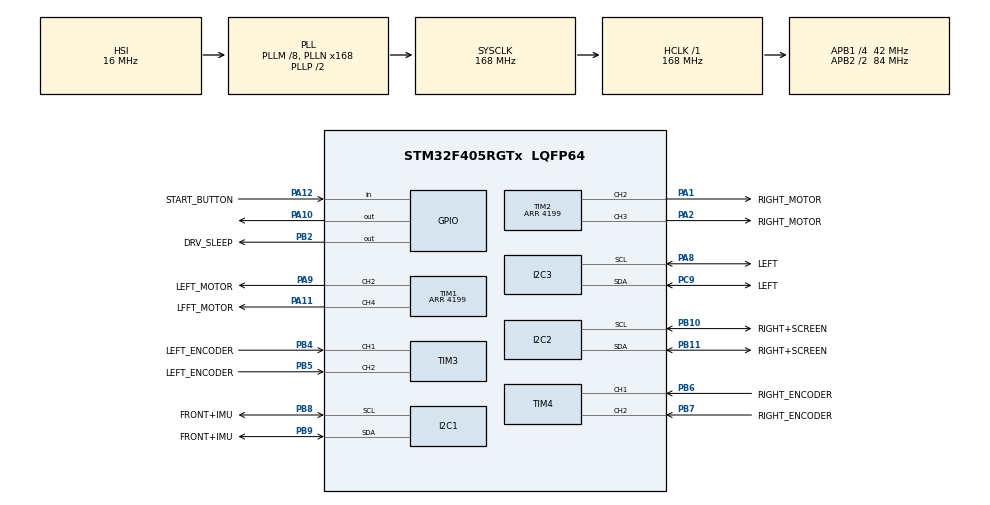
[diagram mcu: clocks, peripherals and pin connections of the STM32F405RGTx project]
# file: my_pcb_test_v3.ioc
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Mcu.Family=STM32F4
Mcu.Name=STM32F405RGTx
Mcu.Package=LQFP64
NVIC.PriorityGroup=NVIC_PRIORITYGROUP_4
NVIC.TIM6_DAC_IRQn=true\:0\:0\:false\:false\:true\:true\:true\:true
PA1.GPIO_Label=RIGHT_MOTOR
PA1.Signal=S_TIM2_CH2
PA10.Signal=GPIO_Output
PA11.GPIO_Label=LFFT_MOTOR
PA11.Signal=S_TIM1_CH4
PA12.GPIO_Label=START_BUTTON
PA12.GPIO_PuPd=GPIO_PULLUP
PA12.Signal=GPIO_Input
PA13.Mode=Serial_Wire
PA13.Signal=SYS_JTMS-SWDIO
PA14.Mode=Serial_Wire
PA14.Signal=SYS_JTCK-SWCLK
PA2.GPIO_Label=RIGHT_MOTOR
PA2.Signal=S_TIM2_CH3
PA8.GPIO_Label=LEFT
PA8.Mode=I2C
PA8.Signal=I2C3_SCL
PA9.GPIO_Label=LEFT_MOTOR
PA9.Signal=S_TIM1_CH2
PB10.GPIO_Label=RIGHT+SCREEN
PB10.Mode=I2C
PB10.Signal=I2C2_SCL
PB11.GPIO_Label=RIGHT+SCREEN
PB11.Mode=I2C
PB11.Signal=I2C2_SDA
PB2.GPIO_Label=DRV_SLEEP
PB2.Signal=GPIO_Output
PB4.GPIO_Label=LEFT_ENCODER
PB4.Signal=S_TIM3_CH1
PB5.GPIO_Label=LEFT_ENCODER
PB5.Signal=S_TIM3_CH2
PB6.GPIO_Label=RIGHT_ENCODER
PB6.Signal=S_TIM4_CH1
PB7.GPIO_Label=RIGHT_ENCODER
PB7.Signal=S_TIM4_CH2
PB8.GPIO_Label=FRONT+IMU
PB8.Mode=I2C
PB8.Signal=I2C1_SCL
PB9.GPIO_Label=FRONT+IMU
PB9.Mode=I2C
PB9.Signal=I2C1_SDA
PC9.GPIO_Label=LEFT
PC9.Mode=I2C
PC9.Signal=I2C3_SDA
ProjectManager.HeapSize=0x200
ProjectManager.StackSize=0x400
ProjectManager.TargetToolchain=STM32CubeIDE
RCC.48MHZClocksFreq_Value=84000000
RCC.AHBFreq_Value=168000000
RCC.APB1CLKDivider=RCC_HCLK_DIV4
RCC.APB1Freq_Value=42000000
RCC.APB1TimFreq_Value=84000000
RCC.APB2CLKDivider=RCC_HCLK_DIV2
RCC.APB2Freq_Value=84000000
RCC.APB2TimFreq_Value=168000000
RCC.CortexFreq_Value=168000000
RCC.HCLKFreq_Value=168000000
RCC.HSE_VALUE=25000000
RCC.HSI_VALUE=16000000
RCC.LSE_VALUE=32768
RCC.PLLM=8
RCC.PLLN=168
RCC.SYSCLKFreq_VALUE=168000000
RCC.SYSCLKSource=RCC_SYSCLKSOURCE_PLLCLK
RCC.VCOOutputFreq_Value=336000000
SH.S_TIM1_CH2.0=TIM1_CH2,PWM Generation2 CH2
SH.S_TIM1_CH4.0=TIM1_CH4,PWM Generation4 CH4
SH.S_TIM2_CH2.0=TIM2_CH2,PWM Generation2 CH2
SH.S_TIM2_CH3.0=TIM2_CH3,PWM Generation3 CH3
SH.S_TIM3_CH1.0=TIM3_CH1,Encoder_Interface
SH.S_TIM3_CH2.0=TIM3_CH2,Encoder_Interface
SH.S_TIM4_CH1.0=TIM4_CH1,Encoder_Interface
SH.S_TIM4_CH2.0=TIM4_CH2,Encoder_Interface
TIM1.Channel-PWM\ Generation2\ CH2=TIM_CHANNEL_2
TIM1.Channel-PWM\ Generation4\ CH4=TIM_CHANNEL_4
TIM1.Period=4199
TIM2.Channel-PWM\ Generation2\ CH2=TIM_CHANNEL_2
TIM2.Channel-PWM\ Generation3\ CH3=TIM_CHANNEL_3
TIM2.Period=4199
TIM3.EncoderMode=TIM_ENCODERMODE_TI12
TIM4.EncoderMode=TIM_ENCODERMODE_TI12
TIM6.Period=10000-1
TIM6.Prescaler=84-1
VP_TIM1_VS_ClockSourceINT.Mode=Internal
VP_TIM2_VS_ClockSourceINT.Mode=Internal
VP_TIM6_VS_ClockSourceINT.Mode=Enable_Timer
board=custom

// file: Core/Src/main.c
/* USER CODE BEGIN Header */
/**
  ******************************************************************************
  * @file           : main.c
  * @brief          : Main program body
  ******************************************************************************
  * @attention
  *
  * Copyright (c) 2026 STMicroelectronics.
  * All rights reserved.
  *
  * This software is licensed under terms that can be found in the LICENSE file
  * in the root directory of this software component.
  * If no LICENSE file comes with this software, it is provided AS-IS.
  *
  ******************************************************************************
  */
/* USER CODE END Header */
#include "main.h"

I2C_HandleTypeDef hi2c1;
I2C_HandleTypeDef hi2c2;
I2C_HandleTypeDef hi2c3;

TIM_HandleTypeDef htim1;
TIM_HandleTypeDef htim2;
TIM_HandleTypeDef htim3;
TIM_HandleTypeDef htim4;
TIM_HandleTypeDef htim6;

/* USER CODE BEGIN PV */
volatile uint8_t flag_10ms_mpu = 0;
mouse_type mouse;
cell_type maze[MAZE_SIZE][MAZE_SIZE];
int stage = 0;
/* Ground-truth maze */
//cell_type REAL_MAZE[MAZE_SIZE][MAZE_SIZE] = INIT_REAL_MAZE;
VL53L0X_Dev_t sensorLeft;
VL53L0X_Dev_t sensorFront;
VL53L0X_Dev_t sensorRight;
/* USER CODE END PV */

void SystemClock_Config(void);
static void MX_GPIO_Init(void);
static void MX_TIM1_Init(void);
static void MX_TIM2_Init(void);
static void MX_TIM3_Init(void);
static void MX_TIM4_Init(void);
static void MX_I2C1_Init(void);
static void MX_I2C2_Init(void);
static void MX_I2C3_Init(void);
static void MX_TIM6_Init(void);
/* USER CODE BEGIN PFP */
void WallFollow_Update(uint16_t distL, uint16_t distR);
/* USER CODE END PFP */

/* USER CODE BEGIN 0 */

// Implement-able Variables for Real-life Application
MPU6050_Data Angle; // use Angle.Yaw for yaw angle
uint16_t distance1, distance2, distance3;

// For IDE Debugging
static char textBuffer[64];   // for formatted strings printed in IDE

// Unused Variables
#define FLT_TEXT_SIZE (1 + 1 + 1 +    8   + 1 + 1 + 5   + 1) // for OLED
statInfo_t_VL53L0X distanceStr1, distanceStr2, distanceStr3;
MPU6050_Raw Raw;
static volatile int counter = 0;
/* USER CODE END 0 */

int main(void)
{

  /* MCU Configuration--------------------------------------------------------*/

  /* Reset of all peripherals, Initializes the Flash interface and the Systick. */
  HAL_Init();

  /* Configure the system clock */
  SystemClock_Config();

  /* Initialize all configured peripherals */
  MX_GPIO_Init();
  MX_TIM1_Init();
  MX_TIM2_Init();
  MX_TIM3_Init();
  MX_TIM4_Init();
  MX_I2C1_Init();
  MX_I2C2_Init();
  MX_I2C3_Init();
  MX_TIM6_Init();
  /* USER CODE BEGIN 2 */
  ssd1306_Init();
  MPU6050_Init();
  DRV8833_Init();
  // BẬT NGẮT TIMER 6 ĐỂ ĐỌC MPU MỖI 10ms
    HAL_TIM_Base_Start_IT(&htim6);
  // --- BẮT ĐẦU RADAR QUÉT MPU6050 ---
    HAL_Delay(500);
    ssd1306_Fill(Black);
    ssd1306_SetCursor(2, 10);

    if (HAL_I2C_IsDeviceReady(&hi2c1, 0xD0, 3, 100) == HAL_OK) {
        ssd1306_WriteString("MPU ADDR: 0xD0 OK", Font_7x10, White);
        MPU6050_Init(); // Chỉ khởi tạo khi chắc chắn MPU còn sống
    }
    else if (HAL_I2C_IsDeviceReady(&hi2c1, 0xD2, 3, 100) == HAL_OK) {
        ssd1306_WriteString("MPU ADDR: 0xD2 !!!", Font_7x10, White);
    }
    else {
        ssd1306_WriteString("MPU: NOT FOUND/DEAD", Font_7x10, White);
    }

    ssd1306_UpdateScreen();
    HAL_Delay(3000); // Đứng hình 3 giây để bạn đọc thông báo
    // --- KẾT THÚC RADAR ---
/*  initVL53L0X(&sensorFront, &hi2c1);
  initVL53L0X(&sensorRight, &hi2c2);
  initVL53L0X(&sensorLeft, &hi2c3);
	for(uint8_t i = 0; i < 52; i++) {
		textBuffer[i] = ' ';
	}
	// --- CẤU HÌNH CHO CẢM BIẾN TRƯỚC ---
	setSignalRateLimit(&sensorFront, 0.25);
	setVcselPulsePeriod(&sensorFront, VcselPeriodPreRange, 14);
	setVcselPulsePeriod(&sensorFront, VcselPeriodFinalRange, 10);
	setMeasurementTimingBudget(&sensorFront, 33000);

	// --- CẤU HÌNH CHO CẢM BIẾN PHẢI ---
	setSignalRateLimit(&sensorRight, 0.25);
	setVcselPulsePeriod(&sensorRight, VcselPeriodPreRange, 14);
	setVcselPulsePeriod(&sensorRight, VcselPeriodFinalRange, 10);
	setMeasurementTimingBudget(&sensorRight, 33000);

	// --- CẤU HÌNH CHO CẢM BIẾN TRÁI ---
	setSignalRateLimit(&sensorLeft, 0.25);
	setVcselPulsePeriod(&sensorLeft, VcselPeriodPreRange, 14);
	setVcselPulsePeriod(&sensorLeft, VcselPeriodFinalRange, 10);
	setMeasurementTimingBudget(&sensorLeft, 33000); // 33ms
*/
  /* USER CODE END 2 */

  /* Infinite loop */
  /* USER CODE BEGIN WHILE */
      while (1)
      {
          // 1. CHỚP ĐÈN NHẸ NHÀNG (Bỏ delay 500ms đi)
          HAL_GPIO_TogglePin(GPIOA, GPIO_PIN_10);

          // 2. IN THÔNG SỐ LÊN OLED
          int16_t enc_left = (int16_t)TIM3->CNT;
          int16_t enc_right = (int16_t)TIM4->CNT;
          ssd1306_Fill(Black);
          ssd1306_SetCursor(1, 20);
          sprintf(textBuffer, "EncL: %-5d", enc_left);
          ssd1306_WriteString(textBuffer, Font_7x10, White);
          ssd1306_SetCursor(1, 0);
          sprintf(textBuffer, "EncR: %-5d", enc_right);
          ssd1306_WriteString(textBuffer, Font_7x10, White);
          ssd1306_UpdateScreen();

          // (Quá trình vẽ OLED mất khoảng vài chục ms, đủ để tạo delay tự nhiên cho vòng lặp)
          // 3. TẠM KHÓA TOÀN BỘ MPU Ở ĐÂY ĐỂ CÁCH LY LỖI
                /* if (flag_10ms_mpu == 1) {
                    flag_10ms_mpu = 0;
                    MPU6050_Read_Data(&Raw);
                } */

          // 4. KIỂM TRA NÚT BẤM PA12
                if (HAL_GPIO_ReadPin(GPIOA, GPIO_PIN_12) == GPIO_PIN_RESET) {

                    HAL_Delay(50); // Lọc nhiễu

                    if (HAL_GPIO_ReadPin(GPIOA, GPIO_PIN_12) == GPIO_PIN_RESET) {

                        // Bật đèn sáng liên tục báo hiệu đang chạy
                        HAL_GPIO_WritePin(GPIOA, GPIO_PIN_10, GPIO_PIN_SET);

                        moveOneCell(); // Hàm này chạy tối đa 4 giây là bắt buộc phải tự thoát

                        // Đã chạy xong, tắt đèn
                        HAL_GPIO_WritePin(GPIOA, GPIO_PIN_10, GPIO_PIN_RESET);

                        // -----------------------------------------------------------
                        // VÒNG LẶP CHỜ NHẢ NÚT (Đã tích hợp máy báo lỗi)
                        // -----------------------------------------------------------
                        while (HAL_GPIO_ReadPin(GPIOA, GPIO_PIN_12) == GPIO_PIN_RESET) {
                            // KHÔNG ĐỌC MPU Ở ĐÂY NỮA !!!

                            // Chớp đèn cực nhanh để báo hiệu: "Tôi đang kẹt ở nút bấm!"
                            HAL_GPIO_TogglePin(GPIOA, GPIO_PIN_10);
                            HAL_Delay(50);
                        }
                        // -----------------------------------------------------------
                        HAL_Delay(50);
                    }
                }

      	// 3. ĐỌC CẢM BIẾN VL53L0X
      /*	distance2 = readRangeSingleMillimeters(&sensorFront, &distanceStr1);
      	distance3 = readRangeSingleMillimeters(&sensorRight, &distanceStr2);
      	distance1 = readRangeSingleMillimeters(&sensorLeft, &distanceStr3);

      	sprintf(textBuffer, "D1:%d D2:%d D3:%d\r\n", distance1, distance2, distance3);

      	// 4. Đọc trạng thái nút PA12 (Chống dội phím Non-blocking)
      	int stage = 1; // Khởi tạo luôn bằng 0
      	static uint32_t last_button_press = 0; // Lưu thời điểm bấm nút cuối cùng
      	if (HAL_GPIO_ReadPin(GPIOA, GPIO_PIN_12) == GPIO_PIN_RESET) {
      	// Chỉ nhận lệnh nếu khoảng cách giữa 2 lần bấm lớn hơn 200ms
      	  if (HAL_GetTick() - last_button_press > 200) {
      	    stage = (stage + 1) % 4; // chuyển sang chế độ tiếp theo
      	    last_button_press = HAL_GetTick(); // Cập nhật lại mốc thời gian
      	  }
      	}
      	// 5. MÁY TRẠNG THÁI (STATE MACHINE)
      	switch (stage){
      	case 0:
      	  Motor_Stop(); // Standby thì nên dừng động cơ
      	  DRV8833_Sleep(); // Ngắt điện hoàn toàn động cơ, chuột ngủ say sưa
      	  break;
      	case 1:
      	  DRV8833_Wakeup(); // Đánh thức chuột dậy
      	  WallFollow_Update(distance1, distance3);
      	  //explore(maze, &mouse);
      	  break;
      	case 2:
      	  returnToStart(maze, &mouse);
      	  break;
      	case 3:
      	  goToOptimal(maze, &mouse, 8, 8);
      	  break;
      	}
      */
      }
      /* USER CODE END WHILE */
}
/*
  * @brief System Clock Configuration
  * @retval None
  */
void SystemClock_Config(void)
{
  RCC_OscInitTypeDef RCC_OscInitStruct = {0};
  RCC_ClkInitTypeDef RCC_ClkInitStruct = {0};

  /** Configure the main internal regulator output voltage
  */
  __HAL_RCC_PWR_CLK_ENABLE();
  __HAL_PWR_VOLTAGESCALING_CONFIG(PWR_REGULATOR_VOLTAGE_SCALE1);

  /** Initializes the RCC Oscillators according to the specified parameters
  * in the RCC_OscInitTypeDef structure.
  */
  RCC_OscInitStruct.OscillatorType = RCC_OSCILLATORTYPE_HSI;
  RCC_OscInitStruct.HSIState = RCC_HSI_ON;
  RCC_OscInitStruct.HSICalibrationValue = RCC_HSICALIBRATION_DEFAULT;
  RCC_OscInitStruct.PLL.PLLState = RCC_PLL_ON;
  RCC_OscInitStruct.PLL.PLLSource = RCC_PLLSOURCE_HSI;
  RCC_OscInitStruct.PLL.PLLM = 8;
  RCC_OscInitStruct.PLL.PLLN = 168;
  RCC_OscInitStruct.PLL.PLLP = RCC_PLLP_DIV2;
  RCC_OscInitStruct.PLL.PLLQ = 4;
  if (HAL_RCC_OscConfig(&RCC_OscInitStruct) != HAL_OK)
  {
    Error_Handler();
  }

  /** Initializes the CPU, AHB and APB buses clocks
  */
  RCC_ClkInitStruct.ClockType = RCC_CLOCKTYPE_HCLK|RCC_CLOCKTYPE_SYSCLK
                              |RCC_CLOCKTYPE_PCLK1|RCC_CLOCKTYPE_PCLK2;
  RCC_ClkInitStruct.SYSCLKSource = RCC_SYSCLKSOURCE_PLLCLK;
  RCC_ClkInitStruct.AHBCLKDivider = RCC_SYSCLK_DIV1;
  RCC_ClkInitStruct.APB1CLKDivider = RCC_HCLK_DIV4;
  RCC_ClkInitStruct.APB2CLKDivider = RCC_HCLK_DIV2;

  if (HAL_RCC_ClockConfig(&RCC_ClkInitStruct, FLASH_LATENCY_5) != HAL_OK)
  {
    Error_Handler();
  }
}

static void MX_I2C1_Init(void)
{

  hi2c1.Instance = I2C1;
  hi2c1.Init.ClockSpeed = 100000;
  hi2c1.Init.DutyCycle = I2C_DUTYCYCLE_2;
  hi2c1.Init.OwnAddress1 = 0;
  hi2c1.Init.AddressingMode = I2C_ADDRESSINGMODE_7BIT;
  hi2c1.Init.DualAddressMode = I2C_DUALADDRESS_DISABLE;
  hi2c1.Init.OwnAddress2 = 0;
  hi2c1.Init.GeneralCallMode = I2C_GENERALCALL_DISABLE;
  hi2c1.Init.NoStretchMode = I2C_NOSTRETCH_DISABLE;
  if (HAL_I2C_Init(&hi2c1) != HAL_OK)
  {
    Error_Handler();
  }

}

static void MX_I2C2_Init(void)
{

  hi2c2.Instance = I2C2;
  hi2c2.Init.ClockSpeed = 100000;
  hi2c2.Init.DutyCycle = I2C_DUTYCYCLE_2;
  hi2c2.Init.OwnAddress1 = 0;
  hi2c2.Init.AddressingMode = I2C_ADDRESSINGMODE_7BIT;
  hi2c2.Init.DualAddressMode = I2C_DUALADDRESS_DISABLE;
  hi2c2.Init.OwnAddress2 = 0;
  hi2c2.Init.GeneralCallMode = I2C_GENERALCALL_DISABLE;
  hi2c2.Init.NoStretchMode = I2C_NOSTRETCH_DISABLE;
  if (HAL_I2C_Init(&hi2c2) != HAL_OK)
  {
    Error_Handler();
  }

}

static void MX_I2C3_Init(void)
{

  hi2c3.Instance = I2C3;
  hi2c3.Init.ClockSpeed = 100000;
  hi2c3.Init.DutyCycle = I2C_DUTYCYCLE_2;
  hi2c3.Init.OwnAddress1 = 0;
  hi2c3.Init.AddressingMode = I2C_ADDRESSINGMODE_7BIT;
  hi2c3.Init.DualAddressMode = I2C_DUALADDRESS_DISABLE;
  hi2c3.Init.OwnAddress2 = 0;
  hi2c3.Init.GeneralCallMode = I2C_GENERALCALL_DISABLE;
  hi2c3.Init.NoStretchMode = I2C_NOSTRETCH_DISABLE;
  if (HAL_I2C_Init(&hi2c3) != HAL_OK)
  {
    Error_Handler();
  }

}

static void MX_TIM1_Init(void)
{

  TIM_ClockConfigTypeDef sClockSourceConfig = {0};
  TIM_MasterConfigTypeDef sMasterConfig = {0};
  TIM_OC_InitTypeDef sConfigOC = {0};
  TIM_BreakDeadTimeConfigTypeDef sBreakDeadTimeConfig = {0};

  htim1.Instance = TIM1;
  htim1.Init.Prescaler = 0;
  htim1.Init.CounterMode = TIM_COUNTERMODE_UP;
  htim1.Init.Period = 4199;
  htim1.Init.ClockDivision = TIM_CLOCKDIVISION_DIV1;
  htim1.Init.RepetitionCounter = 0;
  htim1.Init.AutoReloadPreload = TIM_AUTORELOAD_PRELOAD_DISABLE;
  if (HAL_TIM_Base_Init(&htim1) != HAL_OK)
  {
    Error_Handler();
  }
  sClockSourceConfig.ClockSource = TIM_CLOCKSOURCE_INTERNAL;
  if (HAL_TIM_ConfigClockSource(&htim1, &sClockSourceConfig) != HAL_OK)
  {
    Error_Handler();
  }
  if (HAL_TIM_PWM_Init(&htim1) != HAL_OK)
  {
    Error_Handler();
  }
  sMasterConfig.MasterOutputTrigger = TIM_TRGO_RESET;
  sMasterConfig.MasterSlaveMode = TIM_MASTERSLAVEMODE_DISABLE;
  if (HAL_TIMEx_MasterConfigSynchronization(&htim1, &sMasterConfig) != HAL_OK)
  {
    Error_Handler();
  }
  sConfigOC.OCMode = TIM_OCMODE_PWM1;
  sConfigOC.Pulse = 0;
  sConfigOC.OCPolarity = TIM_OCPOLARITY_HIGH;
  sConfigOC.OCNPolarity = TIM_OCNPOLARITY_HIGH;
  sConfigOC.OCFastMode = TIM_OCFAST_DISABLE;
  sConfigOC.OCIdleState = TIM_OCIDLESTATE_RESET;
  sConfigOC.OCNIdleState = TIM_OCNIDLESTATE_RESET;
  if (HAL_TIM_PWM_ConfigChannel(&htim1, &sConfigOC, TIM_CHANNEL_2) != HAL_OK)
  {
    Error_Handler();
  }
  if (HAL_TIM_PWM_ConfigChannel(&htim1, &sConfigOC, TIM_CHANNEL_4) != HAL_OK)
  {
    Error_Handler();
  }
  sBreakDeadTimeConfig.OffStateRunMode = TIM_OSSR_DISABLE;
  sBreakDeadTimeConfig.OffStateIDLEMode = TIM_OSSI_DISABLE;
  sBreakDeadTimeConfig.LockLevel = TIM_LOCKLEVEL_OFF;
  sBreakDeadTimeConfig.DeadTime = 0;
  sBreakDeadTimeConfig.BreakState = TIM_BREAK_DISABLE;
  sBreakDeadTimeConfig.BreakPolarity = TIM_BREAKPOLARITY_HIGH;
  sBreakDeadTimeConfig.AutomaticOutput = TIM_AUTOMATICOUTPUT_DISABLE;
  if (HAL_TIMEx_ConfigBreakDeadTime(&htim1, &sBreakDeadTimeConfig) != HAL_OK)
  {
    Error_Handler();
  }
  HAL_TIM_MspPostInit(&htim1);

}

static void MX_TIM2_Init(void)
{

  TIM_ClockConfigTypeDef sClockSourceConfig = {0};
  TIM_MasterConfigTypeDef sMasterConfig = {0};
  TIM_OC_InitTypeDef sConfigOC = {0};

  htim2.Instance = TIM2;
  htim2.Init.Prescaler = 0;
  htim2.Init.CounterMode = TIM_COUNTERMODE_UP;
  htim2.Init.Period = 4199;
  htim2.Init.ClockDivision = TIM_CLOCKDIVISION_DIV1;
  htim2.Init.AutoReloadPreload = TIM_AUTORELOAD_PRELOAD_DISABLE;
  if (HAL_TIM_Base_Init(&htim2) != HAL_OK)
  {
    Error_Handler();
  }
  sClockSourceConfig.ClockSource = TIM_CLOCKSOURCE_INTERNAL;
  if (HAL_TIM_ConfigClockSource(&htim2, &sClockSourceConfig) != HAL_OK)
  {
    Error_Handler();
  }
  if (HAL_TIM_PWM_Init(&htim2) != HAL_OK)
  {
    Error_Handler();
  }
  sMasterConfig.MasterOutputTrigger = TIM_TRGO_RESET;
  sMasterConfig.MasterSlaveMode = TIM_MASTERSLAVEMODE_DISABLE;
  if (HAL_TIMEx_MasterConfigSynchronization(&htim2, &sMasterConfig) != HAL_OK)
  {
    Error_Handler();
  }
  sConfigOC.OCMode = TIM_OCMODE_PWM1;
  sConfigOC.Pulse = 0;
  sConfigOC.OCPolarity = TIM_OCPOLARITY_HIGH;
  sConfigOC.OCFastMode = TIM_OCFAST_DISABLE;
  if (HAL_TIM_PWM_ConfigChannel(&htim2, &sConfigOC, TIM_CHANNEL_2) != HAL_OK)
  {
    Error_Handler();
  }
  if (HAL_TIM_PWM_ConfigChannel(&htim2, &sConfigOC, TIM_CHANNEL_3) != HAL_OK)
  {
    Error_Handler();
  }
  HAL_TIM_MspPostInit(&htim2);

}

static void MX_TIM3_Init(void)
{

  TIM_Encoder_InitTypeDef sConfig = {0};
  TIM_MasterConfigTypeDef sMasterConfig = {0};

  htim3.Instance = TIM3;
  htim3.Init.Prescaler = 0;
  htim3.Init.CounterMode = TIM_COUNTERMODE_UP;
  htim3.Init.Period = 65535;
  htim3.Init.ClockDivision = TIM_CLOCKDIVISION_DIV1;
  htim3.Init.AutoReloadPreload = TIM_AUTORELOAD_PRELOAD_DISABLE;
  sConfig.EncoderMode = TIM_ENCODERMODE_TI12;
  sConfig.IC1Polarity = TIM_ICPOLARITY_RISING;
  sConfig.IC1Selection = TIM_ICSELECTION_DIRECTTI;
  sConfig.IC1Prescaler = TIM_ICPSC_DIV1;
  sConfig.IC1Filter = 0;
  sConfig.IC2Polarity = TIM_ICPOLARITY_RISING;
  sConfig.IC2Selection = TIM_ICSELECTION_DIRECTTI;
  sConfig.IC2Prescaler = TIM_ICPSC_DIV1;
  sConfig.IC2Filter = 0;
  if (HAL_TIM_Encoder_Init(&htim3, &sConfig) != HAL_OK)
  {
    Error_Handler();
  }
  sMasterConfig.MasterOutputTrigger = TIM_TRGO_RESET;
  sMasterConfig.MasterSlaveMode = TIM_MASTERSLAVEMODE_DISABLE;
  if (HAL_TIMEx_MasterConfigSynchronization(&htim3, &sMasterConfig) != HAL_OK)
  {
    Error_Handler();
  }

}

static void MX_TIM4_Init(void)
{

  TIM_Encoder_InitTypeDef sConfig = {0};
  TIM_MasterConfigTypeDef sMasterConfig = {0};

  htim4.Instance = TIM4;
  htim4.Init.Prescaler = 0;
  htim4.Init.CounterMode = TIM_COUNTERMODE_UP;
  htim4.Init.Period = 65535;
  htim4.Init.ClockDivision = TIM_CLOCKDIVISION_DIV1;
  htim4.Init.AutoReloadPreload = TIM_AUTORELOAD_PRELOAD_DISABLE;
  sConfig.EncoderMode = TIM_ENCODERMODE_TI12;
  sConfig.IC1Polarity = TIM_ICPOLARITY_RISING;
  sConfig.IC1Selection = TIM_ICSELECTION_DIRECTTI;
  sConfig.IC1Prescaler = TIM_ICPSC_DIV1;
  sConfig.IC1Filter = 0;
  sConfig.IC2Polarity = TIM_ICPOLARITY_RISING;
  sConfig.IC2Selection = TIM_ICSELECTION_DIRECTTI;
  sConfig.IC2Prescaler = TIM_ICPSC_DIV1;
  sConfig.IC2Filter = 0;
  if (HAL_TIM_Encoder_Init(&htim4, &sConfig) != HAL_OK)
  {
    Error_Handler();
  }
  sMasterConfig.MasterOutputTrigger = TIM_TRGO_RESET;
  sMasterConfig.MasterSlaveMode = TIM_MASTERSLAVEMODE_DISABLE;
  if (HAL_TIMEx_MasterConfigSynchronization(&htim4, &sMasterConfig) != HAL_OK)
  {
    Error_Handler();
  }

}

static void MX_TIM6_Init(void)
{

  TIM_MasterConfigTypeDef sMasterConfig = {0};

  htim6.Instance = TIM6;
  htim6.Init.Prescaler = 84-1;
  htim6.Init.CounterMode = TIM_COUNTERMODE_UP;
  htim6.Init.Period = 10000-1;
  htim6.Init.AutoReloadPreload = TIM_AUTORELOAD_PRELOAD_DISABLE;
  if (HAL_TIM_Base_Init(&htim6) != HAL_OK)
  {
    Error_Handler();
  }
  sMasterConfig.MasterOutputTrigger = TIM_TRGO_RESET;
  sMasterConfig.MasterSlaveMode = TIM_MASTERSLAVEMODE_DISABLE;
  if (HAL_TIMEx_MasterConfigSynchronization(&htim6, &sMasterConfig) != HAL_OK)
  {
    Error_Handler();
  }

}

static void MX_GPIO_Init(void)
{
  GPIO_InitTypeDef GPIO_InitStruct = {0};

  /* GPIO Ports Clock Enable */
  __HAL_RCC_GPIOA_CLK_ENABLE();
  __HAL_RCC_GPIOB_CLK_ENABLE();
  __HAL_RCC_GPIOC_CLK_ENABLE();

  /*Configure GPIO pin Output Level */
  HAL_GPIO_WritePin(DRV_SLEEP_GPIO_Port, DRV_SLEEP_Pin, GPIO_PIN_RESET);

  /*Configure GPIO pin Output Level */
  HAL_GPIO_WritePin(GPIOA, GPIO_PIN_10, GPIO_PIN_RESET);

  /*Configure GPIO pin : DRV_SLEEP_Pin */
  GPIO_InitStruct.Pin = DRV_SLEEP_Pin;
  GPIO_InitStruct.Mode = GPIO_MODE_OUTPUT_PP;
  GPIO_InitStruct.Pull = GPIO_NOPULL;
  GPIO_InitStruct.Speed = GPIO_SPEED_FREQ_LOW;
  HAL_GPIO_Init(DRV_SLEEP_GPIO_Port, &GPIO_InitStruct);

  /*Configure GPIO pin : PA10 */
  GPIO_InitStruct.Pin = GPIO_PIN_10;
  GPIO_InitStruct.Mode = GPIO_MODE_OUTPUT_PP;
  GPIO_InitStruct.Pull = GPIO_NOPULL;
  GPIO_InitStruct.Speed = GPIO_SPEED_FREQ_LOW;
  HAL_GPIO_Init(GPIOA, &GPIO_InitStruct);

  /*Configure GPIO pin : START_BUTTON_Pin */
  GPIO_InitStruct.Pin = START_BUTTON_Pin;
  GPIO_InitStruct.Mode = GPIO_MODE_INPUT;
  GPIO_InitStruct.Pull = GPIO_PULLUP;
  HAL_GPIO_Init(START_BUTTON_GPIO_Port, &GPIO_InitStruct);

}

/* USER CODE BEGIN 4 */

void HAL_TIM_PeriodElapsedCallback(TIM_HandleTypeDef *htim)
{
    if (htim->Instance == TIM6) {
        flag_10ms_mpu = 1;
    }
}

// Các hệ số PID (Bạn sẽ cần tinh chỉnh thực tế trên sa bàn)
#define Kp 0.6f
#define Kd 0.2f

// Khoảng cách lý tưởng từ tâm robot đến 1 bên tường (Đơn vị: mm)
// Giả sử ô mê cung rộng 180mm, robot rộng 90mm -> Khoảng cách 2 bên là 45mm
// --- THÔNG SỐ VẬT LÝ MÊ CUNG & ROBOT ---
#define TARGET_DIST_SIDE 45   // Khoảng cách lý tưởng tới tường (mm)
#define WALL_THRESHOLD_MM 120 // Ngưỡng xác định có tường (mm)
#define BASE_SPEED 60         // Tốc độ chạy thẳng nền (0-100)

int previous_error = 0;

void WallFollow_Update(uint16_t distL, uint16_t distR) {
    int error = 0;

    // Kiểm tra xem có tường ở các bên không
    uint8_t has_left = (distL < WALL_THRESHOLD_MM);
    uint8_t has_right = (distR < WALL_THRESHOLD_MM);

    // 1. TÍNH TOÁN SAI SỐ (ERROR)
    if (has_left && has_right) {
        error = distL - distR;
        // Nếu lệch trái -> distL nhỏ -> error âm.
        // Nếu lệch phải -> distR nhỏ -> error dương.
    } else if (has_left) {
        error = distL - TARGET_DIST_SIDE;
    } else if (has_right) {
        error = TARGET_DIST_SIDE - distR;
    } else {
        error = 0; // Ngã tư, không có tường để bám
    }

    // 2. TÍNH TOÁN KHÂU P VÀ D
    float P_term = Kp * error;
    float D_term = Kd * (error - previous_error);

    int turn = (int)(P_term + D_term);
    previous_error = error; // Lưu lại cho vòng lặp sau

    // 3. TÍNH TỐC ĐỘ 2 BÁNH TƯƠNG ỨNG
    // Nếu error < 0 (Lệch trái) -> turn < 0
    // -> Bánh trái tăng tốc (-turn), Bánh phải giảm tốc (+turn) để bẻ lái sang phải.
    int speedL = BASE_SPEED - turn;
    int speedR = BASE_SPEED + turn;

    // 4. KHÂU BÃO HÒA (SATURATION)
    // Đảm bảo tốc độ không vượt quá giới hạn PWM của DRV8833 (0-100)
    if (speedL > 100) speedL = 100;
    if (speedL < 0) speedL = 0;

    if (speedR > 100) speedR = 100;
    if (speedR < 0) speedR = 0;

    // 5. XUẤT XUNG RA ĐỘNG CƠ
    LeftMotor_SetSpeed(speedL);
    RightMotor_SetSpeed(speedR);
}
/* USER CODE END 4 */

void Error_Handler(void)
{
  __disable_irq();
  while (1)
  {
  }
}
